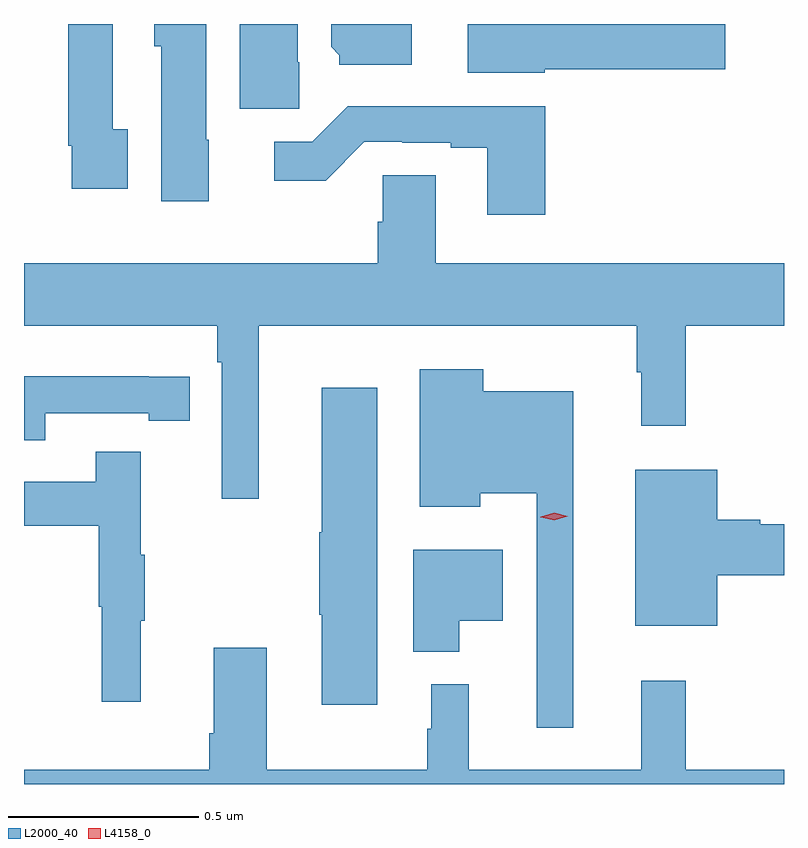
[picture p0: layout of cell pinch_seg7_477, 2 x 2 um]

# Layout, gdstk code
import gdstk
lib = gdstk.Library(unit=1e-6, precision=1e-09)
def P(c, l, *ps):  # polygons
    for p in ps: c.add(gdstk.Polygon(p, *l))
L2000_40 = (2000, 40)
L4158_0 = (4158, 0)

pinch_seg7_477 = lib.new_cell('pinch_seg7_477')
P(pinch_seg7_477, L2000_40, [(312.02,1058.586),(312.016,1058.586),(312.016,1058.686),(311.864,1058.686),(311.864,1058.463),(312.02,1058.463)],
  [(312.666,1058.567),(313.141,1058.567),(313.141,1058.686),(312.464,1058.686),(312.464,1058.558),(312.666,1058.558)],
  [(311.569,1058.409),(311.529,1058.409),(311.529,1058.686),(311.413,1058.686),(311.413,1058.365),(311.421,1058.365),(311.421,1058.253),(311.569,1058.253)],
  [(311.782,1058.382),(311.776,1058.382),(311.776,1058.686),(311.639,1058.686),(311.639,1058.628),(311.657,1058.628),(311.657,1058.22),(311.782,1058.22)],
  [(312.316,1058.686),(312.104,1058.686),(312.104,1058.626),(312.126,1058.604),(312.126,1058.579),(312.316,1058.579)],
  [(312.668,1058.47),(312.148,1058.47),(312.054,1058.376),(311.955,1058.376),(311.955,1058.274),(312.09,1058.274),(312.192,1058.376),(312.292,1058.376),(312.292,1058.373),(312.419,1058.373),(312.419,1058.361),(312.515,1058.361),(312.515,1058.184),(312.668,1058.184)],
  [(311.914,1057.892),(312.909,1057.892),(312.909,1057.769),(312.92,1057.769),(312.92,1057.629),(313.037,1057.629),(313.037,1057.892),(313.296,1057.892),(313.296,1058.056),(312.379,1058.056),(312.379,1058.288),(312.24,1058.288),(312.24,1058.166),(312.227,1058.166),(312.227,1058.056),(311.296,1058.056),(311.296,1057.892),(311.804,1057.892),(311.804,1057.796),(311.817,1057.796),(311.817,1057.437),(311.914,1057.437)],
  [(312.742,1057.72),(312.504,1057.72),(312.504,1057.777),(312.338,1057.777),(312.338,1057.415),(312.496,1057.415),(312.496,1057.451),(312.645,1057.451),(312.645,1056.834),(312.742,1056.834)],
  [(311.352,1057.662),(311.624,1057.662),(311.624,1057.642),(311.732,1057.642),(311.732,1057.758),(311.624,1057.758),(311.624,1057.759),(311.296,1057.759),(311.296,1057.59),(311.352,1057.59)],
  [(312.226,1057.729),(312.08,1057.729),(312.08,1057.349),(312.073,1057.349),(312.073,1057.132),(312.08,1057.132),(312.08,1056.894),(312.226,1056.894)],
  [(311.603,1057.115),(311.614,1057.115),(311.614,1057.289),(311.603,1057.289),(311.603,1057.561),(311.485,1057.561),(311.485,1057.482),(311.296,1057.482),(311.296,1057.366),(311.493,1057.366),(311.493,1057.152),(311.5,1057.152),(311.5,1056.903),(311.603,1056.903)],
  [(313.12,1057.235),(313.296,1057.235),(313.296,1057.369),(313.233,1057.369),(313.233,1057.382),(313.12,1057.382),(313.12,1057.513),(312.905,1057.513),(312.905,1057.103),(313.12,1057.103)],
  [(312.442,1057.115),(312.556,1057.115),(312.556,1057.303),(312.32,1057.303),(312.32,1057.034),(312.442,1057.034)],
  [(313.296,1056.724),(313.037,1056.724),(313.037,1056.958),(312.92,1056.958),(312.92,1056.724),(312.467,1056.724),(312.467,1056.949),(312.368,1056.949),(312.368,1056.831),(312.357,1056.831),(312.357,1056.724),(311.935,1056.724),(311.935,1057.045),(311.795,1057.045),(311.795,1056.82),(311.783,1056.82),(311.783,1056.724),(311.296,1056.724),(311.296,1056.686),(313.296,1056.686)])
P(pinch_seg7_477, L4158_0, [(312.691,1057.38),(312.656,1057.388),(312.655,1057.388),(312.656,1057.389),(312.691,1057.4),(312.727,1057.391),(312.727,1057.391),(312.727,1057.391)])

lib.write_gds('pinch_seg7_477.gds')
